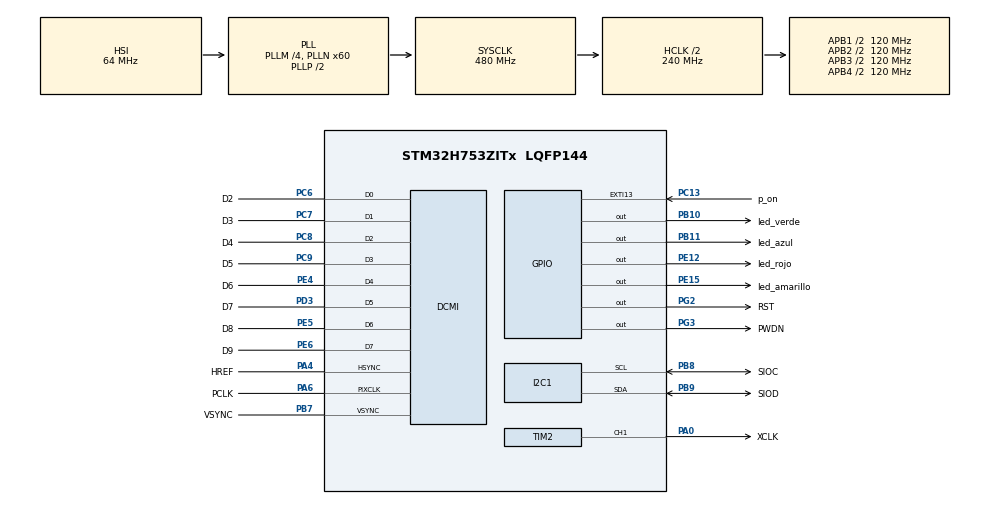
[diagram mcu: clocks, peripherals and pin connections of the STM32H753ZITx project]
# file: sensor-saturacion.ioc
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CORTEX_M7.CPU_DCache=Disabled
CORTEX_M7.CPU_ICache=Disabled
CORTEX_M7.MPU_Control=__NULL
CORTEX_M7.default_mode_Activation=1
DCMI.HSPolarity=DCMI_HSPOLARITY_HIGH
DCMI.JPEGMode=DCMI_JPEG_DISABLE
DCMI.PCKPolarity=DCMI_PCKPOLARITY_RISING
DCMI.VSPolarity=DCMI_VSPOLARITY_HIGH
Dma.DCMI.0.Direction=DMA_PERIPH_TO_MEMORY
Dma.DCMI.0.EventEnable=DISABLE
Dma.DCMI.0.FIFOMode=DMA_FIFOMODE_ENABLE
Dma.DCMI.0.FIFOThreshold=DMA_FIFO_THRESHOLD_FULL
Dma.DCMI.0.Instance=DMA2_Stream1
Dma.DCMI.0.MemBurst=DMA_MBURST_SINGLE
Dma.DCMI.0.MemDataAlignment=DMA_MDATAALIGN_WORD
Dma.DCMI.0.MemInc=DMA_MINC_ENABLE
Dma.DCMI.0.Mode=DMA_NORMAL
Dma.DCMI.0.PeriphBurst=DMA_PBURST_SINGLE
Dma.DCMI.0.PeriphDataAlignment=DMA_PDATAALIGN_WORD
Dma.DCMI.0.PeriphInc=DMA_PINC_DISABLE
Dma.DCMI.0.Polarity=HAL_DMAMUX_REQ_GEN_RISING
Dma.DCMI.0.Priority=DMA_PRIORITY_VERY_HIGH
Dma.DCMI.0.RequestNumber=1
Dma.DCMI.0.SignalID=NONE
Dma.DCMI.0.SyncEnable=DISABLE
Dma.DCMI.0.SyncPolarity=HAL_DMAMUX_SYNC_NO_EVENT
Dma.DCMI.0.SyncRequestNumber=1
Dma.DCMI.0.SyncSignalID=NONE
Dma.Request0=DCMI
I2C1.Timing=0x307075B1
Mcu.Family=STM32H7
Mcu.Name=STM32H753ZITx
Mcu.Package=LQFP144
NVIC.DCMI_IRQn=true\:0\:0\:false\:false\:true\:true\:true\:true
NVIC.DMA2_Stream1_IRQn=true\:0\:0\:false\:false\:true\:false\:true\:true
NVIC.EXTI15_10_IRQn=true\:0\:0\:false\:false\:true\:true\:true\:true
NVIC.PriorityGroup=NVIC_PRIORITYGROUP_4
PA0.GPIO_Label=XCLK
PA0.GPIO_Speed=GPIO_SPEED_FREQ_VERY_HIGH
PA0.Signal=S_TIM2_CH1_ETR
PA4.GPIO_Label=HREF
PA4.GPIO_Speed=GPIO_SPEED_FREQ_VERY_HIGH
PA4.Mode=Slave_8_bits_External_Synchro
PA4.Signal=DCMI_HSYNC
PA6.GPIO_Label=PCLK
PA6.GPIO_Speed=GPIO_SPEED_FREQ_VERY_HIGH
PA6.Mode=Slave_8_bits_External_Synchro
PA6.Signal=DCMI_PIXCLK
PB10.GPIO_Label=led_verde
PB10.Signal=GPIO_Output
PB11.GPIO_Label=led_azul
PB11.Signal=GPIO_Output
PB7.GPIO_FM7=__NULL
PB7.GPIO_Label=VSYNC
PB7.GPIO_Speed=GPIO_SPEED_FREQ_VERY_HIGH
PB7.Mode=Slave_8_bits_External_Synchro
PB7.Signal=DCMI_VSYNC
PB8.GPIO_Label=SIOC
PB8.Mode=I2C
PB8.Signal=I2C1_SCL
PB9.GPIO_Label=SIOD
PB9.Mode=I2C
PB9.Signal=I2C1_SDA
PC13.GPIO_Label=p_on
PC13.GPIO_PuPd=GPIO_PULLDOWN
PC13.Signal=GPXTI13
PC6.GPIO_Label=D2
PC6.GPIO_Speed=GPIO_SPEED_FREQ_VERY_HIGH
PC6.Mode=Slave_8_bits_External_Synchro
PC6.Signal=DCMI_D0
PC7.GPIO_Label=D3
PC7.GPIO_Speed=GPIO_SPEED_FREQ_VERY_HIGH
PC7.Mode=Slave_8_bits_External_Synchro
PC7.Signal=DCMI_D1
PC8.GPIO_Label=D4
PC8.GPIO_Speed=GPIO_SPEED_FREQ_VERY_HIGH
PC8.Mode=Slave_8_bits_External_Synchro
PC8.Signal=DCMI_D2
PC9.GPIO_Label=D5
PC9.GPIO_Speed=GPIO_SPEED_FREQ_VERY_HIGH
PC9.Mode=Slave_8_bits_External_Synchro
PC9.Signal=DCMI_D3
PD3.GPIO_Label=D7
PD3.GPIO_Speed=GPIO_SPEED_FREQ_VERY_HIGH
PD3.Mode=Slave_8_bits_External_Synchro
PD3.Signal=DCMI_D5
PE12.GPIO_Label=led_rojo
PE12.Signal=GPIO_Output
PE15.GPIO_Label=led_amarillo
PE15.Signal=GPIO_Output
PE4.GPIO_Label=D6
PE4.GPIO_Speed=GPIO_SPEED_FREQ_VERY_HIGH
PE4.Mode=Slave_8_bits_External_Synchro
PE4.Signal=DCMI_D4
PE5.GPIO_Label=D8
PE5.GPIO_Speed=GPIO_SPEED_FREQ_VERY_HIGH
PE5.Mode=Slave_8_bits_External_Synchro
PE5.Signal=DCMI_D6
PE6.GPIO_Label=D9
PE6.GPIO_Speed=GPIO_SPEED_FREQ_VERY_HIGH
PE6.Mode=Slave_8_bits_External_Synchro
PE6.Signal=DCMI_D7
PG2.GPIO_Label=RST
PG2.Signal=GPIO_Output
PG3.GPIO_Label=PWDN
PG3.Signal=GPIO_Output
ProjectManager.HeapSize=0x200
ProjectManager.StackSize=0x400
ProjectManager.TargetToolchain=STM32CubeIDE
RCC.ADCFreq_Value=129000000
RCC.APB1Freq_Value=120000000
RCC.APB2Freq_Value=120000000
RCC.APB3Freq_Value=120000000
RCC.APB4Freq_Value=120000000
RCC.CortexFreq_Value=480000000
RCC.D1PPRE=RCC_APB3_DIV2
RCC.D2PPRE1=RCC_APB1_DIV2
RCC.D2PPRE2=RCC_APB2_DIV2
RCC.D3PPRE=RCC_APB4_DIV2
RCC.DIVM1=4
RCC.DIVN1=60
RCC.DIVQ1=4
RCC.HCLKFreq_Value=240000000
RCC.HPRE=RCC_HCLK_DIV2
RCC.HSE_VALUE=8000000
RCC.PLLFRACN=0
RCC.PWR_Regulator_Voltage_Scale=PWR_REGULATOR_VOLTAGE_SCALE0
RCC.SYSCLKFreq_VALUE=480000000
RCC.SYSCLKSource=RCC_SYSCLKSOURCE_PLLCLK
RCC.USBFreq_Value=240000000
SH.S_TIM2_CH1_ETR.0=TIM2_CH1,PWM Generation1 CH1
TIM2.AutoReloadPreload=TIM_AUTORELOAD_PRELOAD_ENABLE
TIM2.Channel-PWM\ Generation1\ CH1=TIM_CHANNEL_1
TIM2.Period=9
TIM2.Pulse-PWM\ Generation1\ CH1=5
VP_MEMORYMAP_VS_MEMORYMAP.Mode=CurAppReg
VP_TIM2_VS_ClockSourceINT.Mode=Internal
board=NUCLEO-H753ZI

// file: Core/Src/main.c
/* USER CODE BEGIN Header */
/**
  ******************************************************************************
  * @file           : main.c
  * @brief          : Main program body
  ******************************************************************************
  * @attention
  *
  * Copyright (c) 2026 STMicroelectronics.
  * All rights reserved.
  *
  * This software is licensed under terms that can be found in the LICENSE file
  * in the root directory of this software component.
  * If no LICENSE file comes with this software, it is provided AS-IS.
  *
  ******************************************************************************
  */
/* USER CODE END Header */
#include "main.h"

/* USER CODE BEGIN Includes */
#include "camara.h"
#include "sensor.h"
/* USER CODE END Includes */

/* USER CODE BEGIN PD */
#define PERIOD_CAPTURE 1000
#define MAX_ERRORES 5
/* USER CODE END PD */

DCMI_HandleTypeDef hdcmi;
DMA_HandleTypeDef hdma_dcmi;

I2C_HandleTypeDef hi2c1;

TIM_HandleTypeDef htim2;

/* USER CODE BEGIN PV */

volatile uint8_t flag_button = 0;

Camera_t camara;
Sensor_t sensor;

#define CAM_BUF_SIZE 261120
__attribute__((section(".ram_d2_bss"), aligned(32))) uint8_t CamBuffer[CAM_BUF_SIZE];
/* USER CODE END PV */

void SystemClock_Config(void);
static void MX_GPIO_Init(void);
static void MX_DMA_Init(void);
static void MX_DCMI_Init(void);
static void MX_I2C1_Init(void);
static void MX_TIM2_Init(void);

/* USER CODE BEGIN 0 */

void Delay (uint32_t delay) {
    uint32_t tick_inicial = HAL_GetTick();

    while ((HAL_GetTick() - tick_inicial) < delay) {

    }
}

void HAL_GPIO_EXTI_Callback(uint16_t GPIO_Pin) {
    if (GPIO_Pin == GPIO_PIN_13)
    	flag_button = 1;
}

void HAL_DCMI_FrameEventCallback(DCMI_HandleTypeDef *hdcmi) {

	__HAL_DCMI_DISABLE_IT(hdcmi, DCMI_IT_FRAME | DCMI_IT_OVF | DCMI_IT_ERR);
	HAL_DCMI_Stop(hdcmi);
	camara.flag_capture = 1;
}

void HAL_DCMI_ErrorCallback(DCMI_HandleTypeDef *hdcmi) {

    __HAL_DCMI_DISABLE_IT(hdcmi, DCMI_IT_FRAME | DCMI_IT_OVF | DCMI_IT_ERR);
    HAL_DCMI_Stop(hdcmi);
    hdcmi->State = HAL_DCMI_STATE_READY;

    camara.error = ERR_DCMI;
}

/* USER CODE END 0 */

int main(void)
{

  /* USER CODE BEGIN 1 */
	SCB_EnableICache();
	SCB_EnableDCache();
  /* USER CODE END 1 */

  /* MCU Configuration--------------------------------------------------------*/

  /* Reset of all peripherals, Initializes the Flash interface and the Systick. */
  HAL_Init();

  /* Configure the system clock */
  SystemClock_Config();

  /* Initialize all configured peripherals */
  MX_GPIO_Init();
  MX_DMA_Init();
  MX_DCMI_Init();
  MX_I2C1_Init();
  MX_TIM2_Init();
  /* USER CODE BEGIN 2 */

  uint8_t err_count = 0;

  while (flag_button == 0);

  Camera_Init(&camara, &hdcmi, PERIOD_CAPTURE, CamBuffer, CAM_BUF_SIZE);
  Sensor_Init(&sensor, &camara);

  /* USER CODE END 2 */

  /* Infinite loop */
  while (1)
  {

    /* USER CODE BEGIN 3 */
	  Sensor_FSM(&sensor);

	  if (sensor.error == 1 && err_count <= MAX_ERRORES){
		  err_count ++;
		  Camera_Init(&camara, &hdcmi, PERIOD_CAPTURE, CamBuffer, CAM_BUF_SIZE);
		  Sensor_Init(&sensor, &camara);
	  }

  }
  /* USER CODE END 3 */
}

void SystemClock_Config(void)
{
  RCC_OscInitTypeDef RCC_OscInitStruct = {0};
  RCC_ClkInitTypeDef RCC_ClkInitStruct = {0};

  /** Supply configuration update enable
  */
  HAL_PWREx_ConfigSupply(PWR_LDO_SUPPLY);

  /** Configure the main internal regulator output voltage
  */
  __HAL_PWR_VOLTAGESCALING_CONFIG(PWR_REGULATOR_VOLTAGE_SCALE0);

  while(!__HAL_PWR_GET_FLAG(PWR_FLAG_VOSRDY)) {}

  /** Initializes the RCC Oscillators according to the specified parameters
  * in the RCC_OscInitTypeDef structure.
  */
  RCC_OscInitStruct.OscillatorType = RCC_OSCILLATORTYPE_HSI;
  RCC_OscInitStruct.HSIState = RCC_HSI_DIV1;
  RCC_OscInitStruct.HSICalibrationValue = RCC_HSICALIBRATION_DEFAULT;
  RCC_OscInitStruct.PLL.PLLState = RCC_PLL_ON;
  RCC_OscInitStruct.PLL.PLLSource = RCC_PLLSOURCE_HSI;
  RCC_OscInitStruct.PLL.PLLM = 4;
  RCC_OscInitStruct.PLL.PLLN = 60;
  RCC_OscInitStruct.PLL.PLLP = 2;
  RCC_OscInitStruct.PLL.PLLQ = 4;
  RCC_OscInitStruct.PLL.PLLR = 2;
  RCC_OscInitStruct.PLL.PLLRGE = RCC_PLL1VCIRANGE_3;
  RCC_OscInitStruct.PLL.PLLVCOSEL = RCC_PLL1VCOWIDE;
  RCC_OscInitStruct.PLL.PLLFRACN = 0;
  if (HAL_RCC_OscConfig(&RCC_OscInitStruct) != HAL_OK)
  {
    Error_Handler();
  }

  /** Initializes the CPU, AHB and APB buses clocks
  */
  RCC_ClkInitStruct.ClockType = RCC_CLOCKTYPE_HCLK|RCC_CLOCKTYPE_SYSCLK
                              |RCC_CLOCKTYPE_PCLK1|RCC_CLOCKTYPE_PCLK2
                              |RCC_CLOCKTYPE_D3PCLK1|RCC_CLOCKTYPE_D1PCLK1;
  RCC_ClkInitStruct.SYSCLKSource = RCC_SYSCLKSOURCE_PLLCLK;
  RCC_ClkInitStruct.SYSCLKDivider = RCC_SYSCLK_DIV1;
  RCC_ClkInitStruct.AHBCLKDivider = RCC_HCLK_DIV2;
  RCC_ClkInitStruct.APB3CLKDivider = RCC_APB3_DIV2;
  RCC_ClkInitStruct.APB1CLKDivider = RCC_APB1_DIV2;
  RCC_ClkInitStruct.APB2CLKDivider = RCC_APB2_DIV2;
  RCC_ClkInitStruct.APB4CLKDivider = RCC_APB4_DIV2;

  if (HAL_RCC_ClockConfig(&RCC_ClkInitStruct, FLASH_LATENCY_4) != HAL_OK)
  {
    Error_Handler();
  }
}

static void MX_DCMI_Init(void)
{

  hdcmi.Instance = DCMI;
  hdcmi.Init.SynchroMode = DCMI_SYNCHRO_HARDWARE;
  hdcmi.Init.PCKPolarity = DCMI_PCKPOLARITY_RISING;
  hdcmi.Init.VSPolarity = DCMI_VSPOLARITY_HIGH;
  hdcmi.Init.HSPolarity = DCMI_HSPOLARITY_HIGH;
  hdcmi.Init.CaptureRate = DCMI_CR_ALL_FRAME;
  hdcmi.Init.ExtendedDataMode = DCMI_EXTEND_DATA_8B;
  hdcmi.Init.JPEGMode = DCMI_JPEG_DISABLE;
  hdcmi.Init.ByteSelectMode = DCMI_BSM_ALL;
  hdcmi.Init.ByteSelectStart = DCMI_OEBS_ODD;
  hdcmi.Init.LineSelectMode = DCMI_LSM_ALL;
  hdcmi.Init.LineSelectStart = DCMI_OELS_ODD;
  if (HAL_DCMI_Init(&hdcmi) != HAL_OK)
  {
    Error_Handler();
  }

}

static void MX_I2C1_Init(void)
{

  hi2c1.Instance = I2C1;
  hi2c1.Init.Timing = 0x307075B1;
  hi2c1.Init.OwnAddress1 = 0;
  hi2c1.Init.AddressingMode = I2C_ADDRESSINGMODE_7BIT;
  hi2c1.Init.DualAddressMode = I2C_DUALADDRESS_DISABLE;
  hi2c1.Init.OwnAddress2 = 0;
  hi2c1.Init.OwnAddress2Masks = I2C_OA2_NOMASK;
  hi2c1.Init.GeneralCallMode = I2C_GENERALCALL_DISABLE;
  hi2c1.Init.NoStretchMode = I2C_NOSTRETCH_DISABLE;
  if (HAL_I2C_Init(&hi2c1) != HAL_OK)
  {
    Error_Handler();
  }

  /** Configure Analogue filter
  */
  if (HAL_I2CEx_ConfigAnalogFilter(&hi2c1, I2C_ANALOGFILTER_ENABLE) != HAL_OK)
  {
    Error_Handler();
  }

  /** Configure Digital filter
  */
  if (HAL_I2CEx_ConfigDigitalFilter(&hi2c1, 0) != HAL_OK)
  {
    Error_Handler();
  }

}

static void MX_TIM2_Init(void)
{

  TIM_ClockConfigTypeDef sClockSourceConfig = {0};
  TIM_MasterConfigTypeDef sMasterConfig = {0};
  TIM_OC_InitTypeDef sConfigOC = {0};

  htim2.Instance = TIM2;
  htim2.Init.Prescaler = 0;
  htim2.Init.CounterMode = TIM_COUNTERMODE_UP;
  htim2.Init.Period = 9;
  htim2.Init.ClockDivision = TIM_CLOCKDIVISION_DIV1;
  htim2.Init.AutoReloadPreload = TIM_AUTORELOAD_PRELOAD_ENABLE;
  if (HAL_TIM_Base_Init(&htim2) != HAL_OK)
  {
    Error_Handler();
  }
  sClockSourceConfig.ClockSource = TIM_CLOCKSOURCE_INTERNAL;
  if (HAL_TIM_ConfigClockSource(&htim2, &sClockSourceConfig) != HAL_OK)
  {
    Error_Handler();
  }
  if (HAL_TIM_PWM_Init(&htim2) != HAL_OK)
  {
    Error_Handler();
  }
  sMasterConfig.MasterOutputTrigger = TIM_TRGO_RESET;
  sMasterConfig.MasterSlaveMode = TIM_MASTERSLAVEMODE_DISABLE;
  if (HAL_TIMEx_MasterConfigSynchronization(&htim2, &sMasterConfig) != HAL_OK)
  {
    Error_Handler();
  }
  sConfigOC.OCMode = TIM_OCMODE_PWM1;
  sConfigOC.Pulse = 5;
  sConfigOC.OCPolarity = TIM_OCPOLARITY_HIGH;
  sConfigOC.OCFastMode = TIM_OCFAST_DISABLE;
  if (HAL_TIM_PWM_ConfigChannel(&htim2, &sConfigOC, TIM_CHANNEL_1) != HAL_OK)
  {
    Error_Handler();
  }
  HAL_TIM_MspPostInit(&htim2);

}

static void MX_DMA_Init(void)
{

  /* DMA controller clock enable */
  __HAL_RCC_DMA2_CLK_ENABLE();

  /* DMA interrupt init */
  /* DMA2_Stream1_IRQn interrupt configuration */
  HAL_NVIC_SetPriority(DMA2_Stream1_IRQn, 0, 0);
  HAL_NVIC_EnableIRQ(DMA2_Stream1_IRQn);

}

static void MX_GPIO_Init(void)
{
  GPIO_InitTypeDef GPIO_InitStruct = {0};

  /* GPIO Ports Clock Enable */
  __HAL_RCC_GPIOE_CLK_ENABLE();
  __HAL_RCC_GPIOC_CLK_ENABLE();
  __HAL_RCC_GPIOA_CLK_ENABLE();
  __HAL_RCC_GPIOB_CLK_ENABLE();
  __HAL_RCC_GPIOG_CLK_ENABLE();
  __HAL_RCC_GPIOD_CLK_ENABLE();

  /*Configure GPIO pin Output Level */
  HAL_GPIO_WritePin(GPIOE, led_rojo_Pin|led_amarillo_Pin, GPIO_PIN_RESET);

  /*Configure GPIO pin Output Level */
  HAL_GPIO_WritePin(GPIOB, led_verde_Pin|led_azul_Pin, GPIO_PIN_RESET);

  /*Configure GPIO pin Output Level */
  HAL_GPIO_WritePin(GPIOG, RST_Pin|PWDN_Pin, GPIO_PIN_RESET);

  /*Configure GPIO pin : p_on_Pin */
  GPIO_InitStruct.Pin = p_on_Pin;
  GPIO_InitStruct.Mode = GPIO_MODE_IT_RISING;
  GPIO_InitStruct.Pull = GPIO_PULLDOWN;
  HAL_GPIO_Init(p_on_GPIO_Port, &GPIO_InitStruct);

  /*Configure GPIO pins : led_rojo_Pin led_amarillo_Pin */
  GPIO_InitStruct.Pin = led_rojo_Pin|led_amarillo_Pin;
  GPIO_InitStruct.Mode = GPIO_MODE_OUTPUT_PP;
  GPIO_InitStruct.Pull = GPIO_NOPULL;
  GPIO_InitStruct.Speed = GPIO_SPEED_FREQ_LOW;
  HAL_GPIO_Init(GPIOE, &GPIO_InitStruct);

  /*Configure GPIO pins : led_verde_Pin led_azul_Pin */
  GPIO_InitStruct.Pin = led_verde_Pin|led_azul_Pin;
  GPIO_InitStruct.Mode = GPIO_MODE_OUTPUT_PP;
  GPIO_InitStruct.Pull = GPIO_NOPULL;
  GPIO_InitStruct.Speed = GPIO_SPEED_FREQ_LOW;
  HAL_GPIO_Init(GPIOB, &GPIO_InitStruct);

  /*Configure GPIO pins : RST_Pin PWDN_Pin */
  GPIO_InitStruct.Pin = RST_Pin|PWDN_Pin;
  GPIO_InitStruct.Mode = GPIO_MODE_OUTPUT_PP;
  GPIO_InitStruct.Pull = GPIO_NOPULL;
  GPIO_InitStruct.Speed = GPIO_SPEED_FREQ_LOW;
  HAL_GPIO_Init(GPIOG, &GPIO_InitStruct);

  /* EXTI interrupt init*/
  HAL_NVIC_SetPriority(p_on_EXTI_IRQn, 0, 0);
  HAL_NVIC_EnableIRQ(p_on_EXTI_IRQn);

}

void Error_Handler(void)
{
  __disable_irq();
  while (1)
  {
  }
}
